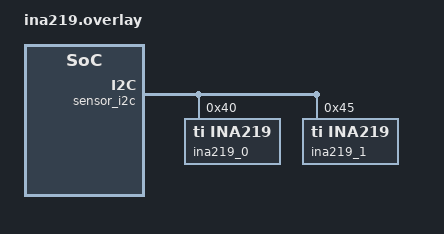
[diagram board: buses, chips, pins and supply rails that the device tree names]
/*
 * Copyright (c) 2023 Achim Kraus CloudCoap.net
 *
 * See the NOTICE file(s) distributed with this work for additional
 * information regarding copyright ownership.
 *
 * This program and the accompanying materials are made available under the
 * terms of the Eclipse Public License 2.0 which is available at
 * http://www.eclipse.org/legal/epl-2.0
 *
 * SPDX-License-Identifier: EPL-2.0 or Apache-2.0
 */

/*
 * Usage: 
 * 
 * west build -d build_nrf9160dk_nrf9160_ns -b nrf9160dk_nrf9160_ns --pristine -- \
 *    -DOVERLAY_CONFIG="60min0-prj.conf;mikroe-prj.conf" -DDTC_OVERLAY_FILE="mikroe.overlay;ina219.overlay"
 *
 * Note: the INA219 modules may come with different I2C addresses and with different
 *       SHUNTs. That may require to adapt the DTS description.
 *
 *   A0 A1 I2C
 *   0  0  0x40
 *   1  0  0x41
 *   0  1  0x44
 *   1  1  0x45
 *
 *   lsb-microamp = <10>; // max. 300mA => max expected current / 2^15
 *
 *   See dts/bindings/sensor/ti,ina219.yaml
 */

&sensor_i2c {
	ina219_0: ina219@40 {
		// GY-INA219, 100 mOhm
		compatible = "ti,ina219";
		reg = <0x40>;
		brng = <0>;
		pg = <0>;
		sadc = <13>;
		badc = <13>;
		shunt-milliohm = <100>;
		lsb-microamp = <10>; // max. 300mA
		status = "okay";
	};

	ina219_1: ina219@45 {
		// Gravity, Wattmeter v2.1.0, , 10 mOhm
		compatible = "ti,ina219";
		reg = <0x45>;
		brng = <0>;
		pg = <0>;
		sadc = <13>;
		badc = <13>;
		shunt-milliohm = <010>;
		lsb-microamp = <10>; // max. 300mA
		status = "okay";
	};
};

